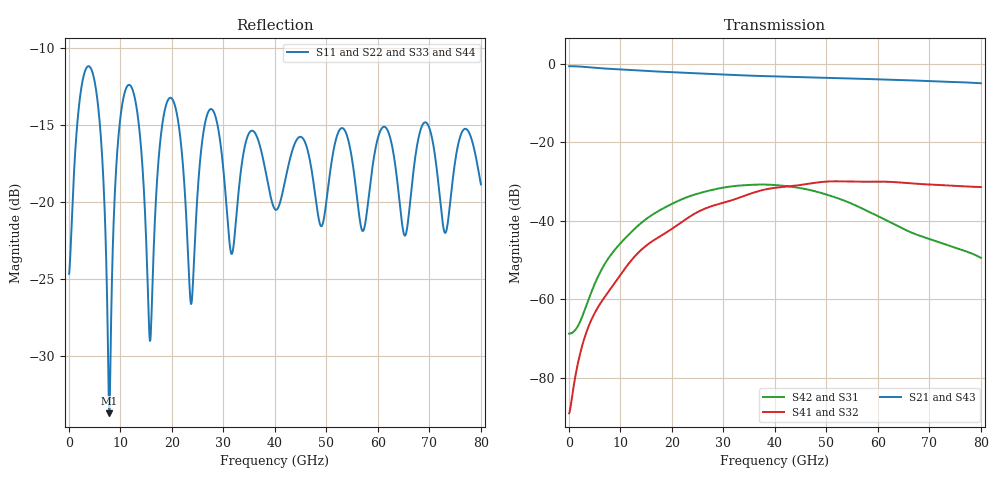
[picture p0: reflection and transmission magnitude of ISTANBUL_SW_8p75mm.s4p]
! TOUCHSTONE file generated by CST MICROWAVE STUDIO
! Date and time: Wed Oct 21 13:38:43 2026
! Project name: TEST0_XTALK_SW.cst
! Parameters = {START_POSITION=0.075; W1=0.002; L1=0.01; W2=0.022; L2=0.076; PITCH=0.2; L=8.75; gap=0.00415; interaxis=0.625; ln_thickness=0.000275; mtx=0.002; si_thickness=0.3; sio2_thickness=0.0047; w=1; wg=0.03; ws=0.01}
! Header version: 2024
! Port assignment regex: !\s*Touchstone port\s*([0-9]+)\s*=\s*(CST MWS port|CST DES external port|CST DES block port)\s*(.+)\s* \(\"(.*)\"\)(\s*mode\s*([0-9]+))?.*
! Touchstone port assignment:
! Touchstone port 1 = CST MWS port 1 ("")
! Touchstone port 2 = CST MWS port 2 ("")
! Touchstone port 3 = CST MWS port 3 ("")
! Touchstone port 4 = CST MWS port 4 ("")
# GHz S MA R 50
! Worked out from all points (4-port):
!   1000 points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, 80 MHz to 80 GHz, reference 50 ohm
!   strongest paths, dB at 80 MHz, 20.08 GHz, 40.08 GHz, 60.08 GHz, 80 GHz:
!     S21: -0.6, -2.1, -3.2, -4.0, -5.0
!     S43: -0.6, -2.1, -3.2, -4.0, -5.0
!     S41: -89.1, -42.0, -31.6, -30.0, -31.4
!     S32: -89.1, -42.0, -31.6, -30.0, -31.4
!     S42: -68.8, -35.7, -30.9, -38.9, -49.5
!     S31: -68.8, -35.7, -30.9, -38.9, -49.5
!   lowest |S11| = -33.7 dB at 7.84 GHz (marker M1), VSWR 1.04, Z = 52 - j0.677 ohm
!   |S11| at or under -10 dB: start of sweep to end of sweep
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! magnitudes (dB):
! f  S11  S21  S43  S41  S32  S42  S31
! 80 MHz  -24.7  -0.6  -0.6  -89.1  -89.1  -68.8  -68.8
! 4.4 GHz  -11.4  -0.9  -0.9  -65.3  -65.3  -58.2  -58.2
! 7.84 GHz  -33.7  -1.3  -1.3  -57.9  -57.9  -49.3  -49.3
! 11.36 GHz  -12.5  -1.5  -1.5  -51.4  -51.4  -43.9  -43.9
! 15.76 GHz  -29.0  -1.9  -1.9  -45.7  -45.7  -38.9  -38.9
! 37.6 GHz  -17.0  -3.1  -3.1  -32.2  -32.2  -30.8  -30.8
! 80 GHz  -18.8  -5.0  -5.0  -31.4  -31.4  -49.5  -49.5
